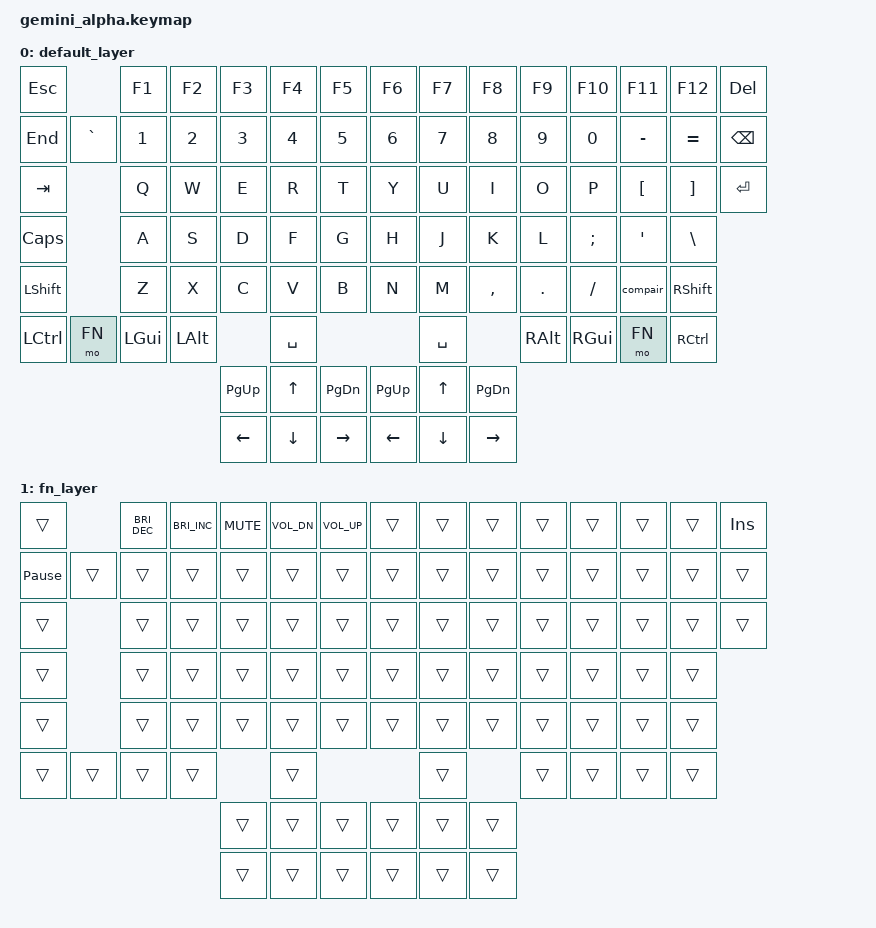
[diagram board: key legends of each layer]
#include <behaviors.dtsi>
#include <dt-bindings/zmk/keys.h>
#include <dt-bindings/zmk/bt.h>

#define DEFAULT 0
#define FN 1

/ {
	behaviors {
		compair: compair {
			compatible = "zmk,behavior-mod-morph";
			#binding-cells = <0>;
			bindings = <&kp LT>, <&kp GT>;
			mods = <(MOD_LSFT|MOD_RSFT)>;
		};
	};
};

/ {
	keymap {
		compatible = "zmk,keymap";

		default_layer { // Layer 0
		// ------------------------------------------------------------------------------------------------
		// |    ESC    | F1  | F2  | F3  | F4  | F5  |    | F6  | F7  | F8  | F9  | F10 | F11 | F12 | DEL |
		// | END |  `  |  1  |  2  |  3  |  4  |  5  |    |  6  |  7  |  8  |  9  |  0  |  -  |  =  | BCK |
		// |    TAB    |  Q  |  W  |  E  |  R  |  T  |    |  Y  |  U  |  I  |  O  |  P  |  [  |  ]  | RET |
		// |   CAPS    |  A  |  S  |  D  |  F  |  G  |    |  H  |  J  |  K  |  L  |  ;  |  '  |  \  |     |
		// |   SHIFT   |  Z  |  X  |  C  |  V  |  B  |    |  N  |  M  |  ,  |  .  |  /  |  <  |   SHIFT   |
		// | CTR | FN  | SYS | ALT |      SPACE      |    |      SPACE      |ALTGR| SYS | FN  | CTR |------
		// ------------------------| PGU | UP  | PGD |    | PGU | UP  | PGD |------------------------
		//                         | LFT | DWN | RGT |    | LFT | DWN | RGT |
		//                         -------------------    -------------------
			bindings = <
				&kp ESC                 &kp F1     &kp F2     &kp F3      &kp F4     &kp F5      &kp F6      &kp F7     &kp F8      &kp F9     &kp F10    &kp F11     &kp F12     &kp DEL
				&kp END     &kp GRAVE   &kp N1     &kp N2     &kp N3      &kp N4     &kp N5      &kp N6      &kp N7     &kp N8      &kp N9     &kp N0     &kp MINUS   &kp EQUAL   &kp BSPC
				&kp TAB                 &kp Q      &kp W      &kp E       &kp R      &kp T       &kp Y       &kp U      &kp I       &kp O      &kp P      &kp LBKT    &kp RBKT    &kp RET
				&kp CAPS                &kp A      &kp S      &kp D       &kp F      &kp G       &kp H       &kp J      &kp K       &kp L      &kp SEMI   &kp APOS    &kp BSLH
				&kp LSHIFT              &kp Z      &kp X      &kp C       &kp V      &kp B       &kp N       &kp M      &kp COMMA   &kp DOT    &kp FSLH   &compair       &kp RSHIFT
				&kp LCTRL   &mo FN      &kp LGUI   &kp LALT               &kp SPACE                          &kp SPACE              &kp RALT   &kp RGUI   &mo FN      &kp RCTRL
				                                              &kp PG_UP   &kp UP     &kp PG_DN   &kp PG_UP   &kp UP     &kp PG_DN
															  &kp LEFT    &kp DOWN   &kp RIGHT   &kp LEFT    &kp DOWN   &kp RIGHT
			>;
		};

		fn_layer { // Layer 1
			bindings = <
				&trans                     &kp C_BRI_DEC   &kp C_BRI_INC   &kp C_MUTE   &kp C_VOL_DN   &kp C_VOL_UP   &trans   &trans   &trans   &trans   &trans   &trans   &trans   &kp INS
				&kp PAUSE_BREAK   &trans   &trans          &trans          &trans       &trans         &trans         &trans   &trans   &trans   &trans   &trans   &trans   &trans   &trans
				&trans                     &trans          &trans          &trans       &trans         &trans         &trans   &trans   &trans   &trans   &trans   &trans   &trans   &trans
				&trans                     &trans          &trans          &trans       &trans         &trans         &trans   &trans   &trans   &trans   &trans   &trans   &trans
				&trans                     &trans          &trans          &trans       &trans         &trans         &trans   &trans   &trans   &trans   &trans   &trans   &trans
				&trans            &trans   &trans          &trans                       &trans                                 &trans            &trans   &trans   &trans   &trans
																		   &trans       &trans         &trans         &trans   &trans   &trans
																		   &trans       &trans         &trans         &trans   &trans   &trans
			>;
		};
	};
};
